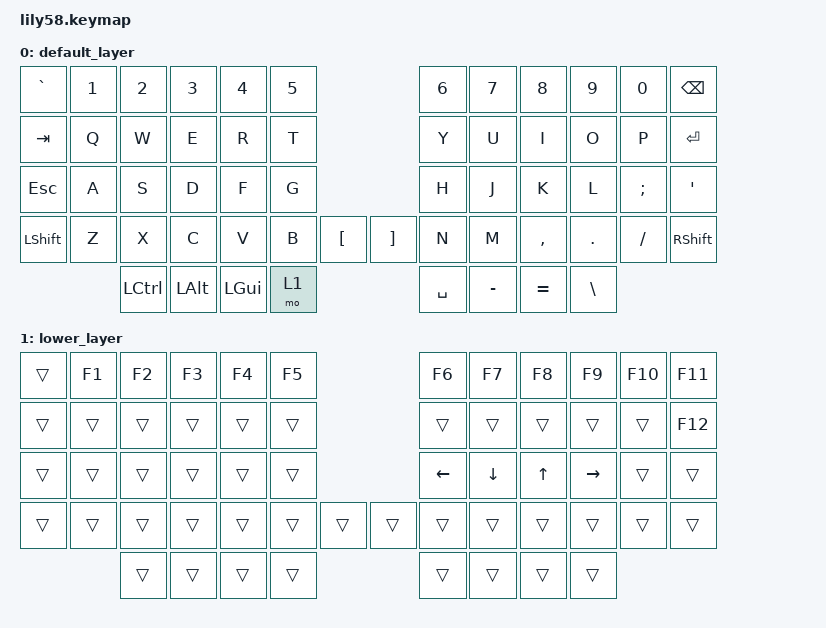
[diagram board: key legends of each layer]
/*
 * Lower layer provides access to
 * - F1-12 keys that align mostly with number keys
 * - arrow keys that align with the home row on the right hand (vim style)
 */

#include <behaviors.dtsi>
#include <dt-bindings/zmk/keys.h>
#include <dt-bindings/zmk/bt.h>
#include <dt-bindings/zmk/ext_power.h>

/ {
    keymap {
        compatible = "zmk,keymap";

        default_layer {
            bindings = <
                &kp GRAVE  &kp N1  &kp N2  &kp N3  &kp N4  &kp N5                      &kp N6  &kp N7  &kp N8     &kp N9   &kp N0    &kp BSPC
                &kp TAB    &kp Q   &kp W   &kp E   &kp R   &kp T                       &kp Y   &kp U   &kp I      &kp O    &kp P     &kp RET
                &kp ESC    &kp A   &kp S   &kp D   &kp F   &kp G                       &kp H   &kp J   &kp K      &kp L    &kp SEMI  &kp SQT
                &kp LSHFT  &kp Z   &kp X   &kp C   &kp V   &kp B  &kp LBKT   &kp RBKT  &kp N   &kp M   &kp COMMA  &kp DOT  &kp FSLH  &kp RSHFT
                                    &kp LCTRL  &kp LALT  &kp LGUI  &mo 1       &kp SPACE  &kp MINUS  &kp EQUAL  &kp BSLH
            >;
        };

        lower_layer {
            bindings = <
                &trans  &kp F1  &kp F2  &kp F3  &kp F4  &kp F5                   &kp F6    &kp F7    &kp F8  &kp F9     &kp F10  &kp F11
                &trans  &trans  &trans  &trans  &trans  &trans                   &trans    &trans    &trans  &trans     &trans   &kp F12
                &trans  &trans  &trans  &trans  &trans  &trans                   &kp LEFT  &kp DOWN  &kp UP  &kp RIGHT  &trans   &trans
                &trans  &trans  &trans  &trans  &trans  &trans  &trans   &trans  &trans    &trans    &trans  &trans     &trans   &trans
                                    &trans  &trans  &trans  &trans           &trans  &trans  &trans  &trans
            >;
        };
    };
};
